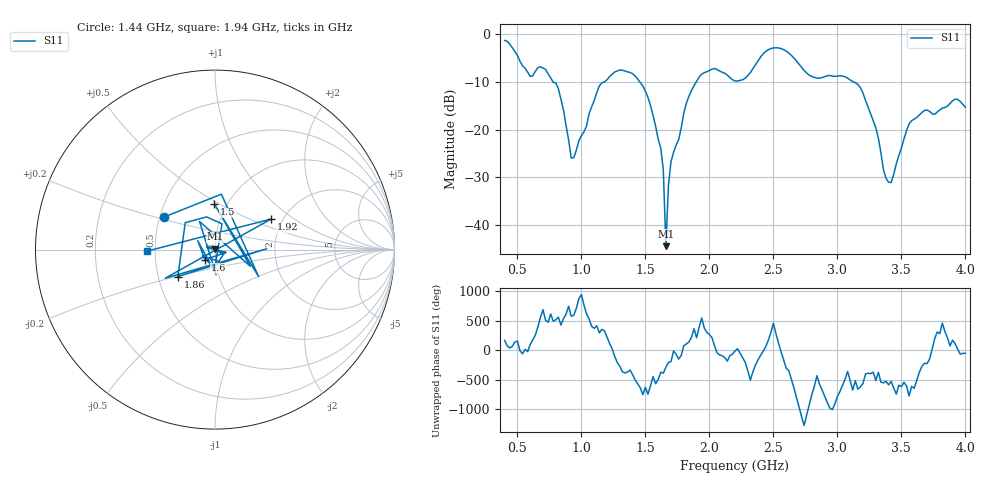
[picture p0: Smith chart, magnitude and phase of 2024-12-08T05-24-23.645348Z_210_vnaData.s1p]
!Created with skrf (http://scikit-rf.org).
# Hz S RI R 50.0
!freq ReS11 ImS11
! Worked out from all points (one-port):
!   181 points, 400 MHz to 4 GHz, reference 50 ohm
!   lowest |S11| = -44.5 dB at 1.66 GHz (marker M1), VSWR 1.01, Z = 50.2 + j0.561 ohm
!   |S11| at or under -10 dB: 778.5 MHz to 1.18 GHz (401.7 MHz wide, 41 % of centre); 1.456 GHz to 1.898 GHz (441.8 MHz wide, 26.3 % of centre); 3.127 GHz to end of sweep
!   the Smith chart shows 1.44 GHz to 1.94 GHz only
!   S11 on the Smith chart (normalised r, x): 1.44 GHz: 0.52, +0.21; 1.5 GHz: 0.87, +0.47; 1.6 GHz: 0.89, -0.10; 1.86 GHz: 0.63, -0.20; 1.92 GHz: 1.74, +0.68; 1.94 GHz: 0.45, -0.01
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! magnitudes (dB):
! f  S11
! 400 MHz  -1.3
! 600 MHz  -8.9
! 720 MHz  -7.4
! 860 MHz  -15.9
! 920 MHz  -25.9
! 940 MHz  -25.9
! 1.14 GHz  -10.8
! 1.3 GHz  -7.5
! 1.44 GHz  -9.4
! 1.5 GHz  -11.9
! 1.6 GHz  -22.0
! 1.64 GHz  -28.5
! 1.66 GHz  -44.5
! 1.68 GHz  -31.7
! 1.7 GHz  -26.8
! 1.76 GHz  -22.1
! 1.86 GHz  -11.8
! 1.92 GHz  -9.0
! 1.94 GHz  -8.4
! 2.2 GHz  -9.8
! 2.48 GHz  -3.0
! 2.66 GHz  -5.0
! 2.82 GHz  -9.1
! 3.1 GHz  -9.6
! 3.2 GHz  -12.4
! 3.4 GHz  -31.0
! 3.56 GHz  -18.8
! 4 GHz  -15.3
